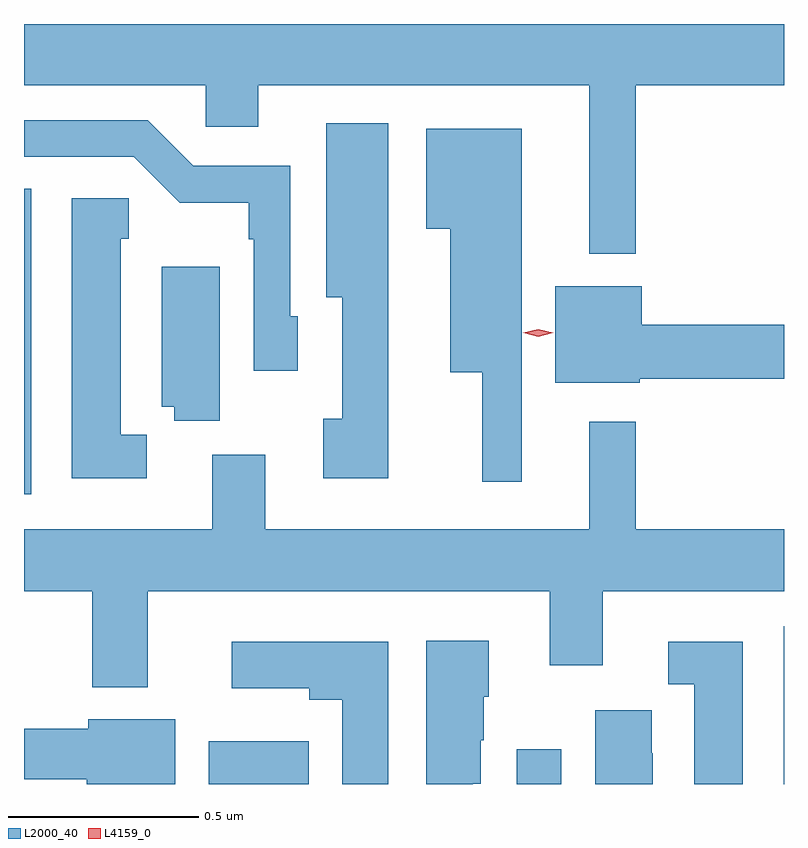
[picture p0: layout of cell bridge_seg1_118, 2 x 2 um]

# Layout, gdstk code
import gdstk
lib = gdstk.Library(unit=1e-6, precision=1e-09)
def R(c, l, rs):  # rectangles x0, y0, x1, y1
    for r in rs: c.add(gdstk.rectangle(r[:2], r[2:], *l))
def P(c, l, *ps):  # polygons
    for p in ps: c.add(gdstk.Polygon(p, *l))
L2000_40 = (2000, 40)
L4159_0 = (4159, 0)

bridge_seg1_118 = lib.new_cell('bridge_seg1_118')
R(bridge_seg1_118, L2000_40, [(126.161,547.229,126.424,547.342), (126.972,547.229,127.089,547.321), (127.674,547.229,127.675,547.644), (125.675,547.992,125.694,548.795)])
P(bridge_seg1_118, L2000_40, [(125.675,549.068),(126.153,549.068),(126.153,548.958),(126.292,548.958),(126.292,549.068),(127.163,549.068),(127.163,548.624),(127.285,548.624),(127.285,549.068),(127.675,549.068),(127.675,549.229),(125.675,549.229)],
  [(126.396,548.46),(126.375,548.46),(126.375,548.856),(126.12,548.856),(126,548.976),(125.675,548.976),(125.675,548.88),(125.964,548.88),(126.085,548.759),(126.267,548.759),(126.267,548.663),(126.279,548.663),(126.279,548.316),(126.396,548.316)],
  [(126.634,548.968),(126.47,548.968),(126.47,548.51),(126.512,548.51),(126.512,548.19),(126.462,548.19),(126.462,548.034),(126.634,548.034)],
  [(126.985,548.953),(126.734,548.953),(126.734,548.69),(126.797,548.69),(126.797,548.312),(126.881,548.312),(126.881,548.025),(126.985,548.025)],
  [(125.998,548.148),(125.929,548.148),(125.929,548.664),(125.951,548.664),(125.951,548.77),(125.801,548.77),(125.801,548.033),(125.998,548.033)],
  [(126.19,548.59),(126.038,548.59),(126.038,548.222),(126.07,548.222),(126.07,548.185),(126.19,548.185)],
  [(127.296,548.296),(127.675,548.296),(127.675,548.438),(127.3,548.438),(127.3,548.539),(127.073,548.539),(127.073,548.285),(127.296,548.285)],
  [(126.001,547.736),(127.058,547.736),(127.058,547.542),(127.198,547.542),(127.198,547.736),(127.675,547.736),(127.675,547.9),(127.285,547.9),(127.285,548.182),(127.163,548.182),(127.163,547.9),(126.31,547.9),(126.31,548.095),(126.17,548.095),(126.17,547.9),(125.675,547.9),(125.675,547.736),(125.854,547.736),(125.854,547.484),(126.001,547.484)],
  [(126.856,547.23),(126.877,547.23),(126.877,547.344),(126.885,547.344),(126.885,547.458),(126.898,547.458),(126.898,547.606),(126.734,547.606),(126.734,547.229),(126.856,547.229)],
  [(127.567,547.603),(127.371,547.603),(127.371,547.491),(127.439,547.491),(127.439,547.229),(127.567,547.229)],
  [(126.634,547.603),(126.222,547.603),(126.222,547.481),(126.425,547.481),(126.425,547.451),(126.512,547.451),(126.512,547.229),(126.634,547.229)],
  [(127.33,547.31),(127.327,547.31),(127.327,547.423),(127.178,547.423),(127.178,547.229),(127.33,547.229)],
  [(126.073,547.399),(125.844,547.399),(125.844,547.375),(125.675,547.375),(125.675,547.241),(125.84,547.241),(125.84,547.229),(126.073,547.229)])
P(bridge_seg1_118, L4159_0, [(127.028,548.406),(126.989,548.416),(126.989,548.417),(126.989,548.417),(127.028,548.426),(127.068,548.417),(127.068,548.416),(127.068,548.416)])

lib.write_gds('bridge_seg1_118.gds')
